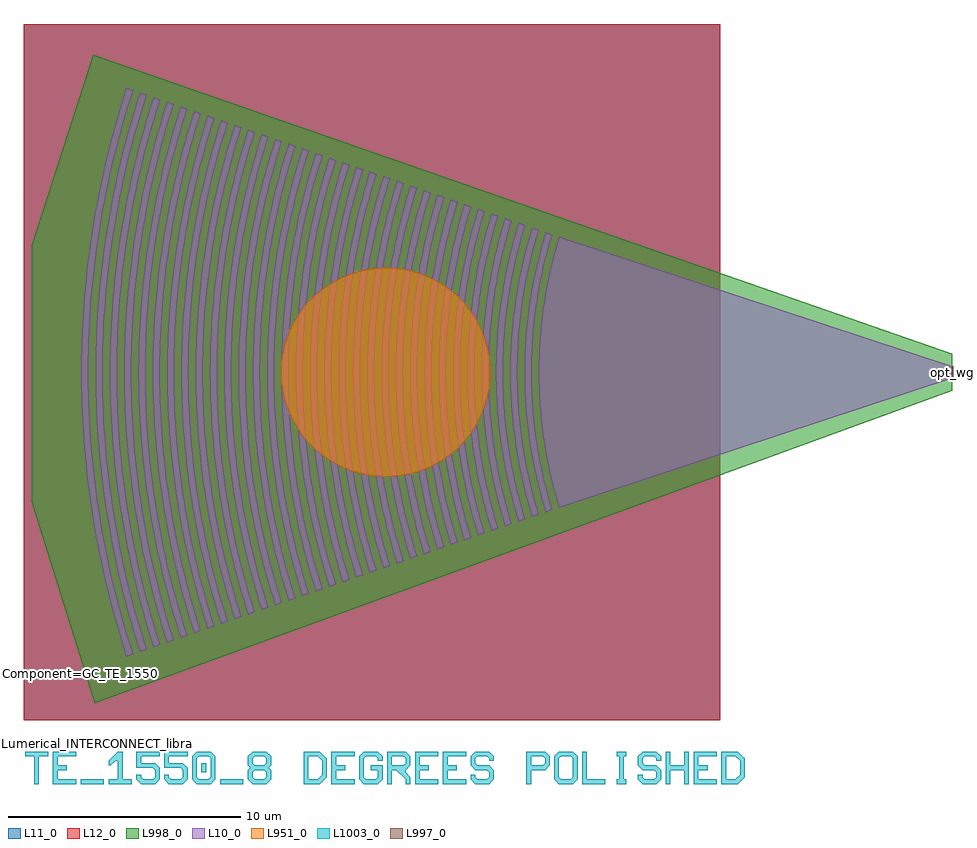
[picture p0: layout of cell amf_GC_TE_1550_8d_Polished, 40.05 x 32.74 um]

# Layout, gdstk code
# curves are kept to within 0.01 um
import gdstk
lib = gdstk.Library(unit=1e-6, precision=1e-09)
def R(c, l, rs):  # rectangles x0, y0, x1, y1
    for r in rs: c.add(gdstk.rectangle(r[:2], r[2:], *l))
def P(c, l, *ps):  # polygons
    for p in ps: c.add(gdstk.Polygon(p, *l))
L10_0 = (10, 0)
L11_0 = (11, 0)
L12_0 = (12, 0)
L951_0 = (951, 0)
L997_0 = (997, 0)
L998_0 = (998, 0)
L1003_0 = (1003, 0)

amf_gc_te_1550_8d_polish = lib.new_cell('amf_GC_TE_1550_8d_Polished')
R(amf_gc_te_1550_8d_polish, L10_0, [(-1,-0.25,0,0.25)])
P(amf_gc_te_1550_8d_polish, L10_0, [(-27.998,-9.64),(-28.346,-8.483),(-28.649,-7.315),(-28.907,-6.136),(-29.119,-4.949),(-29.286,-3.756),(-29.407,-2.557),(-29.482,-1.355),(-29.511,-0.151),(-29.482,1.355),(-29.407,2.557),(-29.286,3.756),(-29.119,4.949),(-28.907,6.136),(-28.649,7.315),(-28.346,8.483),(-27.998,9.64),(-27.707,9.54),(-28.051,8.395),(-28.35,7.239),(-28.605,6.072),(-28.816,4.898),(-28.98,3.716),(-29.1,2.53),(-29.174,1.34),(-29.203,0.149),(-29.185,-1.043),(-29.123,-2.233),(-29.015,-3.42),(-28.816,-4.898),(-28.605,-6.072),(-28.35,-7.239),(-28.051,-8.395),(-27.707,-9.54)],
  [(-28.58,-9.841),(-28.936,-8.66),(-29.246,-7.467),(-29.509,-6.264),(-29.727,-5.052),(-29.897,-3.834),(-30.021,-2.61),(-30.097,-1.383),(-30.127,-0.154),(-30.109,1.076),(-30.021,2.61),(-29.897,3.834),(-29.727,5.052),(-29.509,6.264),(-29.246,7.467),(-28.936,8.66),(-28.58,9.841),(-28.289,9.741),(-28.641,8.572),(-28.947,7.391),(-29.208,6.2),(-29.423,5.001),(-29.591,3.795),(-29.714,2.584),(-29.789,1.369),(-29.819,0.152),(-29.801,-1.065),(-29.714,-2.584),(-29.591,-3.795),(-29.423,-5.001),(-29.208,-6.2),(-28.947,-7.391),(-28.641,-8.572),(-28.289,-9.741)],
  [(-29.163,-10.042),(-29.526,-8.837),(-29.843,-7.62),(-30.112,-6.392),(-30.334,-5.156),(-30.508,-3.912),(-30.634,-2.664),(-30.712,-1.411),(-30.743,-0.157),(-30.712,1.411),(-30.634,2.664),(-30.508,3.912),(-30.334,5.156),(-30.112,6.392),(-29.843,7.62),(-29.526,8.837),(-29.163,10.042),(-28.872,9.941),(-29.231,8.748),(-29.544,7.543),(-29.811,6.328),(-30.03,5.104),(-30.202,3.873),(-30.327,2.637),(-30.405,1.397),(-30.435,0.155),(-30.417,-1.087),(-30.351,-2.327),(-30.238,-3.565),(-30.078,-4.797),(-29.811,-6.328),(-29.544,-7.543),(-29.231,-8.748),(-28.872,-9.941)],
  [(-29.745,-10.242),(-30.116,-9.013),(-30.439,-7.772),(-30.715,-6.52),(-30.941,-5.259),(-31.119,-3.991),(-31.248,-2.717),(-31.328,-1.439),(-31.359,-0.16),(-31.328,1.439),(-31.248,2.717),(-31.119,3.991),(-30.941,5.259),(-30.715,6.52),(-30.439,7.772),(-30.116,9.013),(-29.745,10.242),(-29.454,10.142),(-29.821,8.925),(-30.141,7.696),(-30.413,6.456),(-30.637,5.207),(-30.813,3.952),(-30.941,2.69),(-31.02,1.425),(-31.051,0.158),(-31.032,-1.109),(-30.965,-2.374),(-30.85,-3.637),(-30.686,-4.894),(-30.474,-6.145),(-30.214,-7.387),(-29.906,-8.619),(-29.454,-10.142)],
  [(-30.328,-10.443),(-30.706,-9.19),(-31.036,-7.924),(-31.317,-6.648),(-31.548,-5.362),(-31.73,-4.069),(-31.862,-2.77),(-31.943,-1.468),(-31.975,-0.163),(-31.956,1.142),(-31.862,2.77),(-31.73,4.069),(-31.548,5.362),(-31.317,6.648),(-31.036,7.924),(-30.706,9.19),(-30.328,10.443),(-30.036,10.342),(-30.411,9.102),(-30.738,7.848),(-31.016,6.584),(-31.245,5.311),(-31.424,4.03),(-31.555,2.744),(-31.635,1.454),(-31.667,0.162),(-31.648,-1.131),(-31.58,-2.421),(-31.462,-3.709),(-31.245,-5.311),(-31.016,-6.584),(-30.738,-7.848),(-30.411,-9.102),(-30.036,-10.342)],
  [(-30.91,-10.643),(-31.297,-9.367),(-31.633,-8.077),(-31.92,-6.776),(-32.156,-5.465),(-32.341,-4.147),(-32.475,-2.824),(-32.559,-1.496),(-32.591,-0.166),(-32.571,1.164),(-32.501,2.492),(-32.341,4.147),(-32.156,5.465),(-31.92,6.776),(-31.633,8.077),(-31.297,9.367),(-30.91,10.643),(-30.619,10.543),(-31.001,9.278),(-31.335,8.001),(-31.618,6.712),(-31.852,5.414),(-32.035,4.108),(-32.168,2.797),(-32.251,1.482),(-32.283,0.165),(-32.264,-1.153),(-32.194,-2.468),(-32.073,-3.781),(-31.903,-5.088),(-31.618,-6.712),(-31.335,-8.001),(-31.001,-9.278),(-30.619,-10.543)],
  [(-31.493,-10.844),(-31.887,-9.543),(-32.23,-8.229),(-32.522,-6.904),(-32.763,-5.569),(-32.952,-4.226),(-33.089,-2.877),(-33.174,-1.524),(-33.207,-0.169),(-33.174,1.524),(-33.089,2.877),(-32.952,4.226),(-32.763,5.569),(-32.522,6.904),(-32.23,8.229),(-31.887,9.543),(-31.493,10.844),(-31.201,10.743),(-31.592,9.455),(-31.932,8.153),(-32.221,6.84),(-32.459,5.517),(-32.646,4.187),(-32.782,2.85),(-32.866,1.51),(-32.899,0.168),(-32.879,-1.175),(-32.808,-2.516),(-32.685,-3.853),(-32.511,-5.185),(-32.405,-5.848),(-32.221,-6.84),(-31.932,-8.153),(-31.592,-9.455),(-31.201,-10.743)],
  [(-32.075,-11.044),(-32.477,-9.72),(-32.827,-8.382),(-33.125,-7.032),(-33.37,-5.672),(-33.563,-4.304),(-33.703,-2.93),(-33.789,-1.553),(-33.823,-0.173),(-33.803,1.208),(-33.753,2.242),(-33.703,2.93),(-33.563,4.304),(-33.37,5.672),(-33.125,7.032),(-32.827,8.382),(-32.477,9.72),(-32.075,11.044),(-31.784,10.944),(-32.182,9.631),(-32.528,8.305),(-32.824,6.968),(-33.067,5.62),(-33.257,4.265),(-33.396,2.904),(-33.482,1.538),(-33.515,0.171),(-33.495,-1.197),(-33.445,-2.221),(-33.366,-3.244),(-33.215,-4.604),(-32.952,-6.295),(-32.824,-6.968),(-32.607,-7.972),(-32.447,-8.638),(-32.182,-9.631),(-31.784,-10.944)],
  [(-32.657,-11.245),(-33.067,-9.896),(-33.424,-8.534),(-33.727,-7.16),(-33.978,-5.775),(-34.174,-4.382),(-34.316,-2.984),(-34.405,-1.581),(-34.438,-0.176),(-34.435,0.527),(-34.405,1.581),(-34.316,2.984),(-34.174,4.382),(-33.978,5.775),(-33.727,7.16),(-33.424,8.534),(-33.067,9.896),(-32.657,11.245),(-32.366,11.145),(-32.772,9.808),(-33.125,8.458),(-33.426,7.096),(-33.674,5.723),(-33.868,4.343),(-34.009,2.957),(-34.097,1.567),(-34.131,0.174),(-34.11,-1.219),(-34.06,-2.262),(-33.946,-3.651),(-33.825,-4.689),(-33.728,-5.379),(-33.557,-6.411),(-33.282,-7.778),(-33.042,-8.797),(-32.865,-9.472),(-32.576,-10.478),(-32.366,-11.145)],
  [(-33.24,-11.445),(-33.657,-10.073),(-34.021,-8.686),(-34.33,-7.287),(-34.585,-5.878),(-34.785,-4.461),(-34.93,-3.037),(-35.02,-1.609),(-35.054,-0.179),(-35.034,1.252),(-34.958,2.68),(-34.899,3.393),(-34.785,4.461),(-34.585,5.878),(-34.33,7.287),(-34.021,8.686),(-33.657,10.073),(-33.24,11.445),(-32.949,11.345),(-33.362,9.985),(-33.722,8.61),(-34.029,7.223),(-34.281,5.827),(-34.479,4.422),(-34.623,3.01),(-34.712,1.595),(-34.746,0.177),(-34.726,-1.241),(-34.675,-2.303),(-34.558,-3.717),(-34.435,-4.774),(-34.336,-5.476),(-34.162,-6.526),(-34.029,-7.223),(-33.804,-8.265),(-33.549,-9.299),(-33.362,-9.985),(-32.949,-11.345)],
  [(-33.822,-11.646),(-34.247,-10.25),(-34.617,-8.839),(-34.933,-7.415),(-35.192,-5.981),(-35.396,-4.539),(-35.544,-3.09),(-35.635,-1.637),(-35.67,-0.182),(-35.649,1.274),(-35.618,2.001),(-35.544,3.09),(-35.396,4.539),(-35.192,5.981),(-34.933,7.415),(-34.617,8.839),(-34.247,10.25),(-33.822,11.646),(-33.531,11.546),(-33.852,10.509),(-34.049,9.813),(-34.319,8.763),(-34.482,8.058),(-34.767,6.642),(-34.944,5.573),(-35.045,4.858),(-35.171,3.783),(-35.265,2.704),(-35.342,1.263),(-35.362,0.18),(-35.342,-1.263),(-35.289,-2.344),(-35.171,-3.783),(-35.045,-4.858),(-34.944,-5.573),(-34.767,-6.642),(-34.482,-8.058),(-34.319,-8.763),(-34.049,-9.813),(-33.852,-10.509),(-33.531,-11.546)],
  [(-34.405,-11.846),(-34.837,-10.426),(-35.214,-8.991),(-35.535,-7.543),(-35.799,-6.085),(-36.007,-4.618),(-36.157,-3.144),(-36.251,-1.666),(-36.286,-0.185),(-36.265,1.296),(-36.186,2.775),(-36.05,4.25),(-35.857,5.719),(-35.606,7.18),(-35.3,8.63),(-34.937,10.069),(-34.628,11.138),(-34.405,11.846),(-34.114,11.746),(-34.335,11.044),(-34.641,9.983),(-35.001,8.557),(-35.305,7.119),(-35.436,6.396),(-35.606,5.307),(-35.744,4.214),(-35.879,2.751),(-35.943,1.652),(-35.978,0.184),(-35.968,-0.918),(-35.904,-2.385),(-35.819,-3.483),(-35.655,-4.943),(-35.496,-6.033),(-35.372,-6.757),(-35.16,-7.839),(-35.001,-8.557),(-34.641,-9.983),(-34.335,-11.044),(-34.114,-11.746)],
  [(-34.987,-12.047),(-35.427,-10.603),(-35.811,-9.144),(-36.138,-7.671),(-36.407,-6.188),(-36.618,-4.696),(-36.771,-3.197),(-36.866,-1.694),(-36.902,-0.188),(-36.881,1.318),(-36.826,2.446),(-36.771,3.197),(-36.618,4.696),(-36.407,6.188),(-36.138,7.671),(-35.811,9.144),(-35.427,10.603),(-34.987,12.047),(-34.696,11.947),(-35.029,10.874),(-35.233,10.154),(-35.599,8.703),(-35.761,7.973),(-35.977,6.873),(-36.215,5.397),(-36.396,3.914),(-36.493,2.798),(-36.573,1.307),(-36.594,0.187),(-36.584,-0.933),(-36.518,-2.426),(-36.396,-3.914),(-36.265,-5.027),(-36.042,-6.505),(-35.836,-7.607),(-35.682,-8.339),(-35.513,-9.067),(-35.233,-10.154),(-35.029,-10.874),(-34.696,-11.947)],
  [(-35.57,-12.248),(-36.018,-10.779),(-36.408,-9.296),(-36.74,-7.799),(-37.014,-6.291),(-37.229,-4.774),(-37.385,-3.251),(-37.481,-1.722),(-37.518,-0.191),(-37.496,1.34),(-37.463,2.105),(-37.385,3.251),(-37.229,4.774),(-37.014,6.291),(-36.74,7.799),(-36.408,9.296),(-36.018,10.779),(-35.57,12.248),(-35.278,12.147),(-35.723,10.691),(-36.018,9.589),(-36.197,8.85),(-36.439,7.735),(-36.582,6.989),(-36.769,5.864),(-36.876,5.112),(-37.045,3.602),(-37.133,2.466),(-37.188,1.329),(-37.21,0.19),(-37.188,-1.329),(-37.133,-2.466),(-37.045,-3.602),(-36.876,-5.112),(-36.769,-5.864),(-36.582,-6.989),(-36.439,-7.735),(-36.197,-8.85),(-36.018,-9.589),(-35.723,-10.691),(-35.278,-12.147)],
  [(-16.932,-5.83),(-17.133,-5.128),(-17.309,-4.419),(-17.458,-3.706),(-17.581,-2.988),(-17.677,-2.267),(-17.747,-1.543),(-17.79,-0.817),(-17.807,-0.091),(-17.797,0.636),(-17.747,1.543),(-17.677,2.267),(-17.581,2.988),(-17.458,3.706),(-17.309,4.419),(-17.133,5.128),(-16.932,5.83),(0,0.25),(0,-0.25)],
  [(-19.261,-6.632),(-19.494,-5.834),(-19.696,-5.029),(-19.868,-4.218),(-20.01,-3.401),(-20.121,-2.58),(-20.202,-1.756),(-20.251,-0.931),(-20.271,-0.103),(-20.259,0.724),(-20.217,1.55),(-20.144,2.375),(-20.041,3.196),(-19.906,4.014),(-19.742,4.827),(-19.494,5.834),(-19.261,6.632),(-18.97,6.532),(-19.199,5.746),(-19.398,4.953),(-19.567,4.154),(-19.706,3.349),(-19.816,2.541),(-19.895,1.73),(-19.944,0.916),(-19.963,0.102),(-19.944,-0.916),(-19.895,-1.73),(-19.816,-2.541),(-19.706,-3.349),(-19.567,-4.154),(-19.398,-4.953),(-19.199,-5.746),(-18.97,-6.532)],
  [(-19.844,-6.833),(-20.084,-6.011),(-20.293,-5.181),(-20.471,-4.345),(-20.617,-3.504),(-20.732,-2.659),(-20.815,-1.81),(-20.867,-0.959),(-20.887,-0.107),(-20.875,0.746),(-20.831,1.597),(-20.756,2.447),(-20.649,3.293),(-20.471,4.345),(-20.293,5.181),(-20.084,6.011),(-19.844,6.833),(-19.553,6.732),(-19.789,5.922),(-19.995,5.105),(-20.169,4.281),(-20.314,3.453),(-20.427,2.619),(-20.508,1.783),(-20.559,0.945),(-20.579,0.105),(-20.567,-0.735),(-20.524,-1.574),(-20.427,-2.619),(-20.314,-3.453),(-20.169,-4.281),(-19.995,-5.105),(-19.789,-5.922),(-19.553,-6.732)],
  [(-20.426,-7.033),(-20.674,-6.187),(-20.89,-5.334),(-21.073,-4.473),(-21.224,-3.607),(-21.343,-2.737),(-21.429,-1.863),(-21.482,-0.987),(-21.503,-0.11),(-21.49,0.768),(-21.445,1.644),(-21.368,2.519),(-21.257,3.39),(-21.114,4.257),(-20.89,5.334),(-20.674,6.187),(-20.426,7.033),(-20.135,6.933),(-20.379,6.099),(-20.591,5.258),(-20.772,4.409),(-20.921,3.556),(-21.038,2.698),(-21.122,1.837),(-21.175,0.973),(-21.195,0.108),(-21.175,-0.973),(-21.122,-1.837),(-21.038,-2.698),(-20.921,-3.556),(-20.772,-4.409),(-20.591,-5.258),(-20.379,-6.099),(-20.135,-6.933)],
  [(-21.009,-7.234),(-21.264,-6.364),(-21.487,-5.486),(-21.676,-4.601),(-21.832,-3.711),(-21.954,-2.815),(-22.043,-1.917),(-22.098,-1.015),(-22.119,-0.113),(-22.106,0.79),(-22.06,1.691),(-21.954,2.815),(-21.832,3.711),(-21.676,4.601),(-21.487,5.486),(-21.264,6.364),(-21.009,7.234),(-20.717,7.134),(-20.969,6.276),(-21.188,5.41),(-21.375,4.537),(-21.528,3.659),(-21.649,2.776),(-21.736,1.89),(-21.79,1.001),(-21.811,0.111),(-21.79,-1.001),(-21.736,-1.89),(-21.649,-2.776),(-21.528,-3.659),(-21.375,-4.537),(-21.188,-5.41),(-20.969,-6.276),(-20.717,-7.134)],
  [(-21.591,-7.434),(-21.854,-6.541),(-22.084,-5.638),(-22.278,-4.729),(-22.439,-3.814),(-22.565,-2.894),(-22.656,-1.97),(-22.713,-1.044),(-22.735,-0.116),(-22.722,0.812),(-22.674,1.739),(-22.591,2.663),(-22.474,3.584),(-22.322,4.501),(-22.084,5.638),(-21.854,6.541),(-21.591,7.434),(-21.3,7.334),(-21.559,6.452),(-21.785,5.562),(-21.977,4.665),(-22.135,3.762),(-22.26,2.855),(-22.349,1.943),(-22.405,1.029),(-22.427,0.114),(-22.414,-0.801),(-22.367,-1.715),(-22.285,-2.627),(-22.17,-3.536),(-22.02,-4.44),(-21.785,-5.562),(-21.559,-6.452),(-21.3,-7.334)],
  [(-22.173,-7.635),(-22.444,-6.717),(-22.68,-5.791),(-22.881,-4.857),(-23.046,-3.917),(-23.176,-2.972),(-23.27,-2.023),(-23.328,-1.072),(-23.351,-0.119),(-23.337,0.834),(-23.288,1.786),(-23.203,2.735),(-23.082,3.681),(-22.926,4.623),(-22.734,5.558),(-22.507,6.486),(-22.173,7.635),(-21.882,7.535),(-22.149,6.629),(-22.382,5.715),(-22.58,4.793),(-22.743,3.865),(-22.871,2.933),(-22.963,1.997),(-23.021,1.058),(-23.043,0.118),(-23.029,-0.823),(-22.981,-1.762),(-22.871,-2.933),(-22.743,-3.865),(-22.58,-4.793),(-22.382,-5.715),(-22.149,-6.629),(-21.882,-7.535)],
  [(-22.756,-7.835),(-23.035,-6.894),(-23.277,-5.943),(-23.484,-4.985),(-23.654,-4.02),(-23.787,-3.05),(-23.884,-2.077),(-23.944,-1.1),(-23.967,-0.122),(-23.944,1.1),(-23.884,2.077),(-23.787,3.05),(-23.654,4.02),(-23.484,4.985),(-23.277,5.943),(-23.035,6.894),(-22.756,7.835),(-22.465,7.735),(-22.74,6.806),(-22.979,5.867),(-23.182,4.921),(-23.35,3.969),(-23.482,3.011),(-23.577,2.05),(-23.636,1.086),(-23.659,0.121),(-23.636,-1.086),(-23.577,-2.05),(-23.482,-3.011),(-23.35,-3.969),(-23.182,-4.921),(-22.979,-5.867),(-22.74,-6.806),(-22.465,-7.735)],
  [(-23.338,-8.036),(-23.625,-7.07),(-23.874,-6.096),(-24.086,-5.113),(-24.261,-4.124),(-24.398,-3.129),(-24.497,-2.13),(-24.559,-1.128),(-24.583,-0.125),(-24.568,0.878),(-24.516,1.88),(-24.426,2.879),(-24.299,3.875),(-24.133,4.866),(-23.931,5.851),(-23.691,6.828),(-23.338,8.036),(-23.047,7.936),(-23.33,6.982),(-23.576,6.019),(-23.785,5.049),(-23.957,4.072),(-24.092,3.09),(-24.191,2.103),(-24.251,1.114),(-24.275,0.124),(-24.261,-0.867),(-24.209,-1.856),(-24.121,-2.843),(-23.995,-3.827),(-23.785,-5.049),(-23.576,-6.019),(-23.33,-6.982),(-23.047,-7.936)],
  [(-23.921,-8.237),(-24.215,-7.247),(-24.471,-6.248),(-24.689,-5.241),(-24.868,-4.227),(-25.009,-3.207),(-25.111,-2.183),(-25.174,-1.157),(-25.199,-0.129),(-25.184,0.9),(-25.131,1.927),(-25.038,2.952),(-24.907,3.972),(-24.689,5.241),(-24.471,6.248),(-24.215,7.247),(-23.921,8.237),(-23.63,8.136),(-23.92,7.159),(-24.172,6.172),(-24.387,5.177),(-24.565,4.175),(-24.703,3.168),(-24.804,2.157),(-24.867,1.143),(-24.891,0.127),(-24.867,-1.143),(-24.804,-2.157),(-24.703,-3.168),(-24.565,-4.175),(-24.387,-5.177),(-24.172,-6.172),(-23.92,-7.159),(-23.63,-8.136)],
  [(-24.503,-8.437),(-24.805,-7.424),(-25.068,-6.4),(-25.291,-5.369),(-25.475,-4.33),(-25.62,-3.285),(-25.725,-2.237),(-25.79,-1.185),(-25.815,-0.132),(-25.8,0.922),(-25.745,1.974),(-25.65,3.024),(-25.515,4.069),(-25.341,5.11),(-25.068,6.4),(-24.805,7.424),(-24.503,8.437),(-24.212,8.337),(-24.51,7.335),(-24.769,6.324),(-24.99,5.305),(-25.172,4.278),(-25.314,3.246),(-25.418,2.21),(-25.482,1.171),(-25.507,0.13),(-25.492,-0.911),(-25.438,-1.95),(-25.344,-2.988),(-25.172,-4.278),(-24.99,-5.305),(-24.769,-6.324),(-24.51,-7.335),(-24.212,-8.337)],
  [(-25.086,-8.638),(-25.395,-7.6),(-25.665,-6.553),(-25.894,-5.497),(-26.083,-4.433),(-26.231,-3.364),(-26.338,-2.29),(-26.405,-1.213),(-26.431,-0.135),(-26.415,0.944),(-26.359,2.021),(-26.262,3.096),(-26.124,4.166),(-25.894,5.497),(-25.665,6.553),(-25.395,7.6),(-25.086,8.638),(-24.794,8.537),(-25.1,7.512),(-25.366,6.477),(-25.593,5.433),(-25.779,4.382),(-25.925,3.325),(-26.032,2.263),(-26.097,1.199),(-26.123,0.133),(-26.097,-1.199),(-26.032,-2.263),(-25.925,-3.325),(-25.779,-4.382),(-25.593,-5.433),(-25.366,-6.477),(-25.1,-7.512),(-24.794,-8.537)],
  [(-25.668,-8.838),(-25.985,-7.777),(-26.261,-6.705),(-26.496,-5.625),(-26.69,-4.536),(-26.842,-3.442),(-26.952,-2.343),(-27.02,-1.242),(-27.047,-0.138),(-27.031,0.966),(-26.973,2.068),(-26.873,3.168),(-26.732,4.263),(-26.549,5.353),(-26.324,6.436),(-26.058,7.51),(-25.668,8.838),(-25.377,8.738),(-25.69,7.689),(-25.963,6.629),(-26.195,5.561),(-26.386,4.485),(-26.536,3.403),(-26.645,2.317),(-26.713,1.227),(-26.739,0.136),(-26.723,-0.955),(-26.666,-2.045),(-26.568,-3.132),(-26.428,-4.215),(-26.247,-5.292),(-26.025,-6.363),(-25.69,-7.689),(-25.377,-8.738)],
  [(-26.251,-9.039),(-26.575,-7.954),(-26.858,-6.858),(-27.099,-5.752),(-27.297,-4.64),(-27.453,-3.521),(-27.566,-2.397),(-27.636,-1.27),(-27.663,-0.141),(-27.636,1.27),(-27.566,2.397),(-27.453,3.521),(-27.297,4.64),(-27.099,5.752),(-26.858,6.858),(-26.575,7.954),(-26.251,9.039),(-25.959,8.939),(-26.28,7.865),(-26.56,6.781),(-26.798,5.689),(-26.994,4.588),(-27.147,3.481),(-27.259,2.37),(-27.328,1.256),(-27.355,0.14),(-27.339,-0.977),(-27.259,-2.37),(-27.147,-3.481),(-26.994,-4.588),(-26.798,-5.689),(-26.56,-6.781),(-26.28,-7.865),(-25.959,-8.939)],
  [(-26.833,-9.239),(-27.166,-8.13),(-27.455,-7.01),(-27.702,-5.88),(-27.905,-4.743),(-28.064,-3.599),(-28.179,-2.45),(-28.251,-1.298),(-28.279,-0.144),(-28.262,1.01),(-28.202,2.162),(-28.064,3.599),(-27.905,4.743),(-27.702,5.88),(-27.455,7.01),(-27.166,8.13),(-26.833,9.239),(-26.542,9.139),(-26.87,8.042),(-27.157,6.934),(-27.4,5.816),(-27.601,4.691),(-27.758,3.56),(-27.873,2.423),(-27.943,1.284),(-27.971,0.143),(-27.954,-0.999),(-27.873,-2.423),(-27.758,-3.56),(-27.601,-4.691),(-27.4,-5.816),(-27.157,-6.934),(-26.87,-8.042),(-26.542,-9.139)],
  [(-27.415,-9.44),(-27.756,-8.307),(-28.052,-7.162),(-28.304,-6.008),(-28.512,-4.846),(-28.675,-3.677),(-28.793,-2.503),(-28.866,-1.326),(-28.895,-0.147),(-28.878,1.032),(-28.816,2.209),(-28.709,3.384),(-28.512,4.846),(-28.304,6.008),(-28.052,7.162),(-27.756,8.307),(-27.415,9.44),(-27.124,9.34),(-27.461,8.218),(-27.754,7.086),(-28.003,5.944),(-28.208,4.794),(-28.369,3.638),(-28.486,2.477),(-28.559,1.312),(-28.587,0.146),(-28.57,-1.021),(-28.509,-2.186),(-28.403,-3.348),(-28.253,-4.506),(-28.003,-5.944),(-27.754,-7.086),(-27.461,-8.218),(-27.124,-9.34)],
  [(-17.514,-6.031),(-17.723,-5.304),(-17.906,-4.572),(-18.06,-3.834),(-18.188,-3.091),(-18.288,-2.345),(-18.361,-1.596),(-18.405,-0.846),(-18.423,-0.094),(-18.412,0.658),(-18.374,1.409),(-18.309,2.158),(-18.216,2.905),(-18.095,3.649),(-17.906,4.572),(-17.723,5.304),(-17.514,6.031),(-17.223,5.93),(-17.428,5.216),(-17.607,4.496),(-17.759,3.77),(-17.884,3.04),(-17.983,2.306),(-18.054,1.57),(-18.098,0.832),(-18.115,0.092),(-18.105,-0.647),(-18.054,-1.57),(-17.983,-2.306),(-17.884,-3.04),(-17.759,-3.77),(-17.607,-4.496),(-17.428,-5.216),(-17.223,-5.93)],
  [(-18.096,-6.231),(-18.313,-5.481),(-18.502,-4.724),(-18.663,-3.962),(-18.795,-3.195),(-18.899,-2.424),(-18.974,-1.65),(-19.021,-0.874),(-19.039,-0.097),(-19.028,0.68),(-18.989,1.456),(-18.921,2.23),(-18.824,3.002),(-18.699,3.77),(-18.545,4.534),(-18.313,5.481),(-18.096,6.231),(-17.805,6.131),(-18.018,5.393),(-18.204,4.648),(-18.362,3.898),(-18.492,3.143),(-18.594,2.384),(-18.667,1.623),(-18.713,0.86),(-18.731,0.096),(-18.713,-0.86),(-18.667,-1.623),(-18.594,-2.384),(-18.492,-3.143),(-18.362,-3.898),(-18.204,-4.648),(-18.018,-5.393),(-17.805,-6.131)],
  [(-18.679,-6.432),(-18.904,-5.658),(-19.099,-4.877),(-19.266,-4.09),(-19.403,-3.298),(-19.51,-2.502),(-19.588,-1.703),(-19.636,-0.902),(-19.655,-0.1),(-19.644,0.702),(-19.603,1.503),(-19.51,2.502),(-19.403,3.298),(-19.266,4.09),(-19.099,4.877),(-18.904,5.658),(-18.679,6.432),(-18.388,6.331),(-18.609,5.569),(-18.801,4.8),(-18.964,4.026),(-19.099,3.246),(-19.205,2.463),(-19.281,1.676),(-19.328,0.888),(-19.347,0.099),(-19.336,-0.691),(-19.296,-1.48),(-19.205,-2.463),(-19.099,-3.246),(-18.964,-4.026),(-18.801,-4.8),(-18.609,-5.569),(-18.388,-6.331)])
R(amf_gc_te_1550_8d_polish, L11_0, [(-40,-15,-10,15)])
R(amf_gc_te_1550_8d_polish, L12_0, [(-40,-15,-10,15)])
P(amf_gc_te_1550_8d_polish, L951_0, [(-24.62,-4.5),(-25.06,-4.457),(-25.494,-4.37),(-25.917,-4.242),(-26.325,-4.073),(-26.715,-3.864),(-27.083,-3.619),(-27.425,-3.338),(-27.737,-3.026),(-28.018,-2.684),(-28.263,-2.316),(-28.472,-1.926),(-28.641,-1.518),(-28.769,-1.095),(-28.856,-0.661),(-28.899,-0.221),(-28.899,0.221),(-28.856,0.661),(-28.769,1.095),(-28.641,1.518),(-28.472,1.926),(-28.263,2.316),(-28.018,2.684),(-27.737,3.026),(-27.425,3.338),(-27.083,3.619),(-26.715,3.864),(-26.325,4.073),(-25.917,4.242),(-25.494,4.37),(-25.06,4.457),(-24.62,4.5),(-24.178,4.5),(-23.738,4.457),(-23.304,4.37),(-22.881,4.242),(-22.473,4.073),(-22.083,3.864),(-21.715,3.619),(-21.373,3.338),(-21.061,3.026),(-20.78,2.684),(-20.535,2.316),(-20.326,1.926),(-20.157,1.518),(-20.029,1.095),(-19.942,0.661),(-19.899,0.221),(-19.899,-0.221),(-19.942,-0.661),(-20.029,-1.095),(-20.157,-1.518),(-20.326,-1.926),(-20.535,-2.316),(-20.78,-2.684),(-21.061,-3.026),(-21.373,-3.338),(-21.715,-3.619),(-22.083,-3.864),(-22.473,-4.073),(-22.881,-4.242),(-23.304,-4.37),(-23.738,-4.457),(-24.178,-4.5)])
P(amf_gc_te_1550_8d_polish, L998_0, [(-36.93,-14.26),(-39.65,-5.6),(-39.65,5.474),(-37.01,13.68),(0,0.8),(0,-0.8)])
R(amf_gc_te_1550_8d_polish, L1003_0, [(-37.54,-17.74,-36.54,-17.54), (-31.54,-17.74,-30.54,-17.54), (-32.34,-17.24,-32.14,-16.84)])
P(amf_gc_te_1550_8d_polish, L1003_0, [(-39.54,-17.74),(-39.54,-16.54),(-39.94,-16.54),(-39.94,-16.34),(-38.94,-16.34),(-38.94,-16.54),(-39.34,-16.54),(-39.34,-17.74)],
  [(-38.74,-17.74),(-38.74,-16.34),(-37.74,-16.34),(-37.74,-16.54),(-38.54,-16.54),(-38.54,-16.94),(-38.14,-16.94),(-38.14,-17.14),(-38.54,-17.14),(-38.54,-17.54),(-37.74,-17.54),(-37.74,-17.74)],
  [(-36.34,-17.74),(-36.34,-17.54),(-35.94,-17.54),(-35.94,-16.74),(-36.04,-16.74),(-36.24,-16.94),(-36.34,-16.94),(-36.34,-16.74),(-35.94,-16.34),(-35.74,-16.34),(-35.74,-17.54),(-35.34,-17.54),(-35.34,-17.74)],
  [(-34.94,-17.74),(-35.14,-17.54),(-35.14,-17.34),(-34.94,-17.34),(-34.94,-17.44),(-34.84,-17.54),(-34.44,-17.54),(-34.34,-17.44),(-34.34,-17.14),(-34.44,-17.04),(-35.14,-17.04),(-35.14,-16.34),(-34.14,-16.34),(-34.14,-16.54),(-34.94,-16.54),(-34.94,-16.84),(-34.34,-16.84),(-34.14,-17.04),(-34.14,-17.54),(-34.34,-17.74)],
  [(-33.74,-17.74),(-33.94,-17.54),(-33.94,-17.34),(-33.74,-17.34),(-33.74,-17.44),(-33.64,-17.54),(-33.24,-17.54),(-33.14,-17.44),(-33.14,-17.14),(-33.24,-17.04),(-33.94,-17.04),(-33.94,-16.34),(-32.94,-16.34),(-32.94,-16.54),(-33.74,-16.54),(-33.74,-16.84),(-33.14,-16.84),(-32.94,-17.04),(-32.94,-17.54),(-33.14,-17.74)],
  [(-32.54,-17.74),(-32.74,-17.54),(-32.74,-16.54),(-32.54,-16.34),(-31.94,-16.34),(-31.74,-16.54),(-32.44,-16.54),(-32.54,-16.64),(-32.54,-17.44),(-32.44,-17.54),(-32.04,-17.54),(-31.94,-17.44),(-31.94,-16.64),(-32.04,-16.54),(-31.74,-16.54),(-31.74,-17.54),(-31.94,-17.74)],
  [(-30.14,-17.74),(-30.34,-17.54),(-30.34,-17.14),(-30.24,-17.04),(-30.34,-16.94),(-30.34,-16.54),(-30.14,-16.34),(-29.54,-16.34),(-29.34,-16.54),(-30.04,-16.54),(-30.14,-16.64),(-30.14,-16.84),(-30.04,-16.94),(-29.64,-16.94),(-29.54,-16.84),(-29.54,-16.64),(-29.64,-16.54),(-29.34,-16.54),(-29.34,-16.94),(-29.44,-17.04),(-29.34,-17.14),(-30.04,-17.14),(-30.14,-17.24),(-30.14,-17.44),(-30.04,-17.54),(-29.64,-17.54),(-29.54,-17.44),(-29.54,-17.24),(-29.64,-17.14),(-29.34,-17.14),(-29.34,-17.54),(-29.54,-17.74)],
  [(-27.94,-17.74),(-27.94,-16.34),(-27.24,-16.34),(-27.04,-16.54),(-27.74,-16.54),(-27.74,-17.54),(-27.34,-17.54),(-27.14,-17.34),(-27.14,-16.74),(-27.34,-16.54),(-27.04,-16.54),(-26.94,-16.64),(-26.94,-17.44),(-27.24,-17.74)],
  [(-26.74,-17.74),(-26.74,-16.34),(-25.74,-16.34),(-25.74,-16.54),(-26.54,-16.54),(-26.54,-16.94),(-26.14,-16.94),(-26.14,-17.14),(-26.54,-17.14),(-26.54,-17.54),(-25.74,-17.54),(-25.74,-17.74)],
  [(-25.34,-17.74),(-25.54,-17.54),(-25.54,-16.54),(-25.34,-16.34),(-24.74,-16.34),(-24.54,-16.54),(-24.54,-16.74),(-24.74,-16.74),(-24.74,-16.64),(-24.84,-16.54),(-25.24,-16.54),(-25.34,-16.64),(-25.34,-17.44),(-25.24,-17.54),(-24.84,-17.54),(-24.74,-17.44),(-24.74,-17.14),(-25.04,-17.14),(-25.04,-16.94),(-24.54,-16.94),(-24.54,-17.54),(-24.74,-17.74)],
  [(-24.34,-17.74),(-24.34,-16.34),(-23.54,-16.34),(-23.34,-16.54),(-24.14,-16.54),(-24.14,-16.94),(-23.64,-16.94),(-23.54,-16.84),(-23.54,-16.64),(-23.64,-16.54),(-23.34,-16.54),(-23.34,-16.94),(-23.54,-17.14),(-23.54,-17.24),(-23.34,-17.44),(-23.34,-17.74),(-23.54,-17.74),(-23.54,-17.54),(-23.94,-17.14),(-24.14,-17.14),(-24.14,-17.74)],
  [(-23.14,-17.74),(-23.14,-16.34),(-22.14,-16.34),(-22.14,-16.54),(-22.94,-16.54),(-22.94,-16.94),(-22.54,-16.94),(-22.54,-17.14),(-22.94,-17.14),(-22.94,-17.54),(-22.14,-17.54),(-22.14,-17.74)],
  [(-21.94,-17.74),(-21.94,-16.34),(-20.94,-16.34),(-20.94,-16.54),(-21.74,-16.54),(-21.74,-16.94),(-21.34,-16.94),(-21.34,-17.14),(-21.74,-17.14),(-21.74,-17.54),(-20.94,-17.54),(-20.94,-17.74)],
  [(-20.54,-17.74),(-20.74,-17.54),(-20.74,-17.34),(-20.54,-17.34),(-20.54,-17.44),(-20.44,-17.54),(-20.04,-17.54),(-19.94,-17.44),(-19.94,-17.24),(-20.04,-17.14),(-20.54,-17.14),(-20.74,-16.94),(-20.74,-16.54),(-20.54,-16.34),(-19.94,-16.34),(-19.74,-16.54),(-19.74,-16.74),(-19.94,-16.74),(-19.94,-16.64),(-20.04,-16.54),(-20.44,-16.54),(-20.54,-16.64),(-20.54,-16.84),(-20.44,-16.94),(-19.94,-16.94),(-19.74,-17.14),(-19.74,-17.54),(-19.94,-17.74)],
  [(-18.34,-17.74),(-18.34,-16.34),(-17.54,-16.34),(-17.34,-16.54),(-17.34,-16.94),(-17.54,-17.14),(-18.14,-17.14),(-18.14,-16.94),(-17.64,-16.94),(-17.54,-16.84),(-17.54,-16.64),(-17.64,-16.54),(-18.14,-16.54),(-18.14,-17.74)],
  [(-16.94,-17.74),(-17.14,-17.54),(-17.14,-16.54),(-16.94,-16.34),(-16.34,-16.34),(-16.14,-16.54),(-16.14,-17.04),(-16.34,-17.04),(-16.34,-16.64),(-16.44,-16.54),(-16.84,-16.54),(-16.94,-16.64),(-16.94,-17.44),(-16.84,-17.54),(-16.44,-17.54),(-16.34,-17.44),(-16.34,-17.04),(-16.14,-17.04),(-16.14,-17.54),(-16.34,-17.74)],
  [(-15.94,-17.74),(-15.94,-16.34),(-15.74,-16.34),(-15.74,-17.54),(-14.94,-17.54),(-14.94,-17.74)],
  [(-14.44,-17.74),(-14.44,-17.54),(-14.34,-17.54),(-14.34,-16.54),(-14.44,-16.54),(-14.44,-16.34),(-14.04,-16.34),(-14.04,-16.54),(-14.14,-16.54),(-14.14,-17.54),(-14.04,-17.54),(-14.04,-17.74)],
  [(-13.34,-17.74),(-13.54,-17.54),(-13.54,-17.34),(-13.34,-17.34),(-13.34,-17.44),(-13.24,-17.54),(-12.84,-17.54),(-12.74,-17.44),(-12.74,-17.24),(-12.84,-17.14),(-13.34,-17.14),(-13.54,-16.94),(-13.54,-16.54),(-13.34,-16.34),(-12.74,-16.34),(-12.54,-16.54),(-12.54,-16.74),(-12.74,-16.74),(-12.74,-16.64),(-12.84,-16.54),(-13.24,-16.54),(-13.34,-16.64),(-13.34,-16.84),(-13.24,-16.94),(-12.74,-16.94),(-12.54,-17.14),(-12.54,-17.54),(-12.74,-17.74)],
  [(-12.34,-17.74),(-12.34,-16.34),(-12.14,-16.34),(-12.14,-16.94),(-11.54,-16.94),(-11.54,-16.34),(-11.34,-16.34),(-11.34,-17.74),(-11.54,-17.74),(-11.54,-17.14),(-12.14,-17.14),(-12.14,-17.74)],
  [(-11.14,-17.74),(-11.14,-16.34),(-10.14,-16.34),(-10.14,-16.54),(-10.94,-16.54),(-10.94,-16.94),(-10.54,-16.94),(-10.54,-17.14),(-10.94,-17.14),(-10.94,-17.54),(-10.14,-17.54),(-10.14,-17.74)],
  [(-9.94,-17.74),(-9.94,-16.34),(-9.24,-16.34),(-9.04,-16.54),(-9.74,-16.54),(-9.74,-17.54),(-9.34,-17.54),(-9.14,-17.34),(-9.14,-16.74),(-9.34,-16.54),(-9.04,-16.54),(-8.94,-16.64),(-8.94,-17.44),(-9.24,-17.74)])
amf_gc_te_1550_8d_polish.add(gdstk.FlexPath([(-0.05,0),(0.05,0)], 0.5, ends="flush", simple_path=True, layer=997, datatype=0))  # L997_0
amf_gc_te_1550_8d_polish.add(gdstk.Label('opt_wg', (0,0), layer=997, texttype=0))
amf_gc_te_1550_8d_polish.add(gdstk.Label('Lumerical_INTERCONNECT_library=Design kits/SiEPIC_AMF', (-39,-16), layer=998, texttype=0))
amf_gc_te_1550_8d_polish.add(gdstk.Label('Component=GC_TE_1550', (-39,-13), layer=998, texttype=0))

lib.write_gds('amf_GC_TE_1550_8d_Polished.gds')
